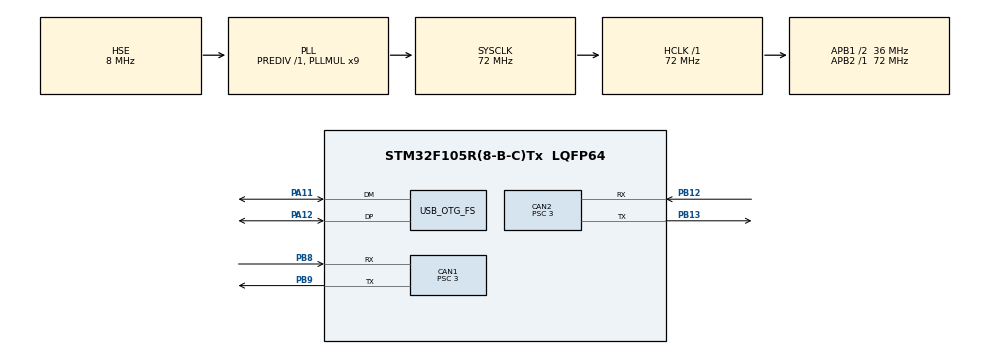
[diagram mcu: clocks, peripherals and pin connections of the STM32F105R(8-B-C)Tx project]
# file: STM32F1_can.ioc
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CAN1.BS1=CAN_BS1_6TQ
CAN1.BS2=CAN_BS2_5TQ
CAN1.CalculateTimeBit=1000
CAN1.CalculateTimeQuantum=83.33333333333334
CAN1.Prescaler=3
CAN2.BS1=CAN_BS1_5TQ
CAN2.BS2=CAN_BS2_6TQ
CAN2.CalculateTimeBit=1000
CAN2.CalculateTimeQuantum=83.33333333333334
CAN2.Prescaler=3
Mcu.Family=STM32F1
Mcu.Name=STM32F105R(8-B-C)Tx
Mcu.Package=LQFP64
NVIC.CAN1_RX0_IRQn=true\:0\:0\:false
NVIC.CAN1_TX_IRQn=true\:0\:0\:false
NVIC.CAN2_RX0_IRQn=true\:0\:0\:false
NVIC.CAN2_TX_IRQn=true\:0\:0\:false
NVIC.OTG_FS_IRQn=true\:0\:0\:false
NVIC.PriorityGroup=NVIC_PRIORITYGROUP_4
PA11.Mode=Device_Only
PA11.Signal=USB_OTG_FS_DM
PA12.Mode=Device_Only
PA12.Signal=USB_OTG_FS_DP
PB12.Mode=Slave
PB12.Signal=CAN2_RX
PB13.Mode=Slave
PB13.Signal=CAN2_TX
PB8.Mode=Master
PB8.Signal=CAN1_RX
PB9.Mode=Master
PB9.Signal=CAN1_TX
PD0-OSC_IN.Mode=HSE-External-Oscillator
PD0-OSC_IN.Signal=RCC_OSC_IN
PD1-OSC_OUT.Mode=HSE-External-Oscillator
PD1-OSC_OUT.Signal=RCC_OSC_OUT
ProjectManager.HeapSize=0x400
ProjectManager.StackSize=0x200
ProjectManager.TargetToolchain=MDK-ARM V5
RCC.AHBFreq_Value=72000000
RCC.APB1CLKDivider=RCC_HCLK_DIV2
RCC.APB1Freq_Value=36000000
RCC.APB1TimFreq_Value=72000000
RCC.APB2Freq_Value=72000000
RCC.APB2TimFreq_Value=72000000
RCC.HCLKFreq_Value=72000000
RCC.HSIState=RCC_HSI_ON
RCC.PLLMUL=RCC_PLL_MUL9
RCC.SYSCLKFreq_VALUE=72000000
RCC.SYSCLKSource=RCC_SYSCLKSOURCE_PLLCLK
RCC.USBFreq_Value=48000000
USB_DEVICE.USBD_HandleTypeDef=hUsbDeviceFS
USB_DEVICE.VirtualMode=Cdc
USB_DEVICE.VirtualModeFS=Cdc_FS
USB_OTG_FS.VirtualMode=Device_Only
VP_USB_DEVICE_VS_USB_DEVICE_CDC_FS.Mode=CDC_FS
board=STM32F1_can_

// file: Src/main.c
/**
  ******************************************************************************
  * File Name          : main.c
  * Description        : Main program body
  ******************************************************************************
  *
  * COPYRIGHT(c) 2016 STMicroelectronics
  *
  * Redistribution and use in source and binary forms, with or without modification,
  * are permitted provided that the following conditions are met:
  *   1. Redistributions of source code must retain the above copyright notice,
  *      this list of conditions and the following disclaimer.
  *   2. Redistributions in binary form must reproduce the above copyright notice,
  *      this list of conditions and the following disclaimer in the documentation
  *      and/or other materials provided with the distribution.
  *   3. Neither the name of STMicroelectronics nor the names of its contributors
  *      may be used to endorse or promote products derived from this software
  *      without specific prior written permission.
  *
  * THIS SOFTWARE IS PROVIDED BY THE COPYRIGHT HOLDERS AND CONTRIBUTORS "AS IS"
  * AND ANY EXPRESS OR IMPLIED WARRANTIES, INCLUDING, BUT NOT LIMITED TO, THE
  * IMPLIED WARRANTIES OF MERCHANTABILITY AND FITNESS FOR A PARTICULAR PURPOSE ARE
  * DISCLAIMED. IN NO EVENT SHALL THE COPYRIGHT HOLDER OR CONTRIBUTORS BE LIABLE
  * FOR ANY DIRECT, INDIRECT, INCIDENTAL, SPECIAL, EXEMPLARY, OR CONSEQUENTIAL
  * DAMAGES (INCLUDING, BUT NOT LIMITED TO, PROCUREMENT OF SUBSTITUTE GOODS OR
  * SERVICES; LOSS OF USE, DATA, OR PROFITS; OR BUSINESS INTERRUPTION) HOWEVER
  * CAUSED AND ON ANY THEORY OF LIABILITY, WHETHER IN CONTRACT, STRICT LIABILITY,
  * OR TORT (INCLUDING NEGLIGENCE OR OTHERWISE) ARISING IN ANY WAY OUT OF THE USE
  * OF THIS SOFTWARE, EVEN IF ADVISED OF THE POSSIBILITY OF SUCH DAMAGE.
  *
  ******************************************************************************
  */
#include "stm32f1xx_hal.h"
#include "usb_device.h"

CAN_HandleTypeDef hcan1;
CAN_HandleTypeDef hcan2;

/* USER CODE BEGIN PV */
/* Private variables ---------------------------------------------------------*/
static CanTxMsgTypeDef        Tx1Message;
static CanRxMsgTypeDef        Rx1Message;
static CanTxMsgTypeDef        Tx2Message;
static CanRxMsgTypeDef        Rx2Message;
static uint8_t bCAN1_TxReq = 0;
static uint8_t bCAN2_TxReq = 0;

#define MAX_SEND_TRY_COUNT 15000 // this is about 20ms TX timeout (measured by scope)
static uint32_t iCAN1_Timeout = 0;
static uint32_t iCAN2_Timeout = 0;

/* USER CODE END PV */

// if defined CAN2 acting as loopback
//#define CAN1_LOOPBACK

// if defined CAN2 acting as loopback
//#define CAN2_LOOPBACK

// if defined CAN parameters are stored in MCU Flash
#define USE_FLASH

#ifdef USE_FLASH
  #define FLASH_USER_OFFSET 0x800F800
  int iCAN1_Prescaler        __attribute__((at(FLASH_USER_OFFSET+4*0))) = 6;
  int iCAN2_Prescaler        __attribute__((at(FLASH_USER_OFFSET+4*1))) = 6;
  int iCAN1_FilterIdHigh     __attribute__((at(FLASH_USER_OFFSET+4*2))) = 0;
  int iCAN1_FilterIdLow      __attribute__((at(FLASH_USER_OFFSET+4*3))) = 0;
  int iCAN1_FilterMaskIdHigh __attribute__((at(FLASH_USER_OFFSET+4*4))) = 0;
  int iCAN1_FilterMaskIdLow  __attribute__((at(FLASH_USER_OFFSET+4*5))) = 0;
  int iCAN2_FilterIdHigh     __attribute__((at(FLASH_USER_OFFSET+4*6))) = 0;
  int iCAN2_FilterIdLow      __attribute__((at(FLASH_USER_OFFSET+4*7))) = 0;
  int iCAN2_FilterMaskIdHigh __attribute__((at(FLASH_USER_OFFSET+4*8))) = 0;
  int iCAN2_FilterMaskIdLow  __attribute__((at(FLASH_USER_OFFSET+4*9))) = 0;
  int iReplace_Count          __attribute__((at(FLASH_USER_OFFSET+4*10))) = 0;
#else
  int iCAN1_Prescaler         = 6;
  int iCAN2_Prescaler         = 6;
  int iCAN1_FilterIdHigh      = 0;
  int iCAN1_FilterIdLow       = 0;
  int iCAN1_FilterMaskIdHigh  = 0;
  int iCAN1_FilterMaskIdLow   = 0;
  int iCAN2_FilterIdHigh      = 0;
  int iCAN2_FilterIdLow       = 0;
  int iCAN2_FilterMaskIdHigh  = 0;
  int iCAN2_FilterMaskIdLow   = 0;
  int iReplace_Count = 0;
#endif

#define FLASH_REPLACEMENT_OFFSET (FLASH_USER_OFFSET + 4*11)
#define FLASH_REPLACEMENT_SIZE (12)
unsigned int *iReplace_IDMask;
unsigned int *iReplace_IDFilter;
unsigned int *iReplace_NewIDMask;
unsigned int *iReplace_NewIDValue;
unsigned int *iReplace_DataMaskHigh;
unsigned int *iReplace_DataMaskLow;
unsigned int *iReplace_DataFilterHigh;
unsigned int *iReplace_DataFilterLow;
unsigned int *iReplace_NewDataMaskHigh;
unsigned int *iReplace_NewDataMaskLow;
unsigned int *iReplace_NewDataValueHigh;
unsigned int *iReplace_NewDataValueLow;

void SystemClock_Config(void);
static void MX_GPIO_Init(void);
static void MX_CAN1_Init(void);
static void MX_CAN2_Init(void);
void Error_Handler(void);

/* USER CODE BEGIN PFP */
/* Private function prototypes -----------------------------------------------*/
void User_GPIO_Init(void);
void LedG(uint8_t On);
void LedG_Toggle(void);
void LedB(uint8_t On);
void LedB_Toggle(void);
void LedR(uint8_t On);
void LedR_Toggle(void);
void ProcessModification(CanTxMsgTypeDef* pTxMsg);
void RunTests(void);
void CAN_CancelTransmit(CAN_HandleTypeDef* hcan);

void RxQueuePut(uint8_t data);
uint8_t RxQueueGet(void);
uint8_t RxQueueNotEmpty(void);

void UART_ProcessData(uint8_t rx);
/* USER CODE END PFP */

int main(void)
{

  /* MCU Configuration----------------------------------------------------------*/

  /* Reset of all peripherals, Initializes the Flash interface and the Systick. */
  HAL_Init();

  /* Configure the system clock */
  SystemClock_Config();

  /* Initialize all configured peripherals */
  MX_GPIO_Init();
  MX_CAN1_Init();
  MX_CAN2_Init();
  MX_USB_DEVICE_Init();

  /* USER CODE BEGIN 2 */
  User_GPIO_Init();
  LedG(1);

  /*##-2- Start the Reception process and enable reception interrupt #########*/
  if (HAL_CAN_Receive_IT(&hcan1, CAN_FIFO0) != HAL_OK)
  {
    /* Reception Error */
    Error_Handler();
  }

  /*##-2- Start the Reception process and enable reception interrupt #########*/
  if (HAL_CAN_Receive_IT(&hcan2, CAN_FIFO0) != HAL_OK)
  {
    /* Reception Error */
    Error_Handler();
  }

  RunTests(); // this is function to run transmission tests

  // this is loopback cycle
  while (1)
  {
    if (bCAN2_TxReq)
    {
      //LedR(1);
      ProcessModification(hcan2.pTxMsg);
      //LedR(0);
      if (HAL_CAN_Transmit_IT(&hcan2) != HAL_OK)
      {
        /* Transmition Error */
        LedR_Toggle();

        // if we tried hard so many times -- restart CAN
        iCAN2_Timeout++;
        if (iCAN2_Timeout > MAX_SEND_TRY_COUNT)
        {
          iCAN2_Timeout = 0;
          //CAN_CancelTransmit(&hcan2);
          HAL_NVIC_SystemReset();
        }
      }
      else
      {
        bCAN2_TxReq = 0;
        iCAN2_Timeout = 0;
      }
    }

    if (bCAN1_TxReq)
    {
      //ProcessModification(hcan1.pTxMsg); // TODO: maybe add CAN instance selector in replacement data?

      if (HAL_CAN_Transmit_IT(&hcan1) != HAL_OK)
      {
        /* Transmition Error */
        LedR_Toggle();

        // if we tried hard so many times -- restart CAN
        iCAN1_Timeout++;
        if (iCAN1_Timeout > MAX_SEND_TRY_COUNT)
        {
          iCAN1_Timeout = 0;
          //CAN_CancelTransmit(&hcan1);
          HAL_NVIC_SystemReset();
        }
      }
      else
      {
        bCAN1_TxReq = 0;
        iCAN1_Timeout = 0;
      }
    }

    if (RxQueueNotEmpty()) UART_ProcessData(RxQueueGet());
  }

  /* USER CODE END 2 */

  /* Infinite loop */
  while (1)
  {

  }

}

/** System Clock Configuration
*/
void SystemClock_Config(void)
{

  RCC_OscInitTypeDef RCC_OscInitStruct;
  RCC_ClkInitTypeDef RCC_ClkInitStruct;
  RCC_PeriphCLKInitTypeDef PeriphClkInit;

  RCC_OscInitStruct.OscillatorType = RCC_OSCILLATORTYPE_HSE;
  RCC_OscInitStruct.HSEState = RCC_HSE_ON;
  RCC_OscInitStruct.HSEPredivValue = RCC_HSE_PREDIV_DIV1;
  RCC_OscInitStruct.Prediv1Source = RCC_PREDIV1_SOURCE_HSE;
  RCC_OscInitStruct.PLL.PLLState = RCC_PLL_ON;
  RCC_OscInitStruct.PLL.PLLSource = RCC_PLLSOURCE_HSE;
  RCC_OscInitStruct.PLL.PLLMUL = RCC_PLL_MUL9;
  RCC_OscInitStruct.PLL2.PLL2State = RCC_PLL_NONE;
  HAL_RCC_OscConfig(&RCC_OscInitStruct);

  RCC_ClkInitStruct.ClockType = RCC_CLOCKTYPE_HCLK|RCC_CLOCKTYPE_SYSCLK
                              |RCC_CLOCKTYPE_PCLK1|RCC_CLOCKTYPE_PCLK2;
  RCC_ClkInitStruct.SYSCLKSource = RCC_SYSCLKSOURCE_PLLCLK;
  RCC_ClkInitStruct.AHBCLKDivider = RCC_SYSCLK_DIV1;
  RCC_ClkInitStruct.APB1CLKDivider = RCC_HCLK_DIV2;
  RCC_ClkInitStruct.APB2CLKDivider = RCC_HCLK_DIV1;
  HAL_RCC_ClockConfig(&RCC_ClkInitStruct, FLASH_LATENCY_2);

  PeriphClkInit.PeriphClockSelection = RCC_PERIPHCLK_USB;
  PeriphClkInit.UsbClockSelection = RCC_USBPLLCLK_DIV3;
  HAL_RCCEx_PeriphCLKConfig(&PeriphClkInit);

  HAL_SYSTICK_Config(HAL_RCC_GetHCLKFreq()/1000);

  HAL_SYSTICK_CLKSourceConfig(SYSTICK_CLKSOURCE_HCLK);

  __HAL_RCC_PLLI2S_ENABLE();

  /* SysTick_IRQn interrupt configuration */
  HAL_NVIC_SetPriority(SysTick_IRQn, 0, 0);
}

/* CAN1 init function */
void MX_CAN1_Init(void)
{
  CAN_FilterConfTypeDef  sFilterConfig;

  hcan1.Instance = CAN1;
  hcan1.pTxMsg = &Tx1Message;
  hcan1.pRxMsg = &Rx1Message;

  hcan1.Init.Prescaler = iCAN1_Prescaler; //3 -- 1Msps
  #ifdef CAN1_LOOPBACK
    hcan1.Init.Mode = CAN_MODE_LOOPBACK;
  #else
    hcan1.Init.Mode = CAN_MODE_NORMAL;
  #endif
  hcan1.Init.SJW = CAN_SJW_1TQ;
  hcan1.Init.BS1 = CAN_BS1_6TQ;
  hcan1.Init.BS2 = CAN_BS2_5TQ;
  hcan1.Init.TTCM = DISABLE;
  hcan1.Init.ABOM = DISABLE;
  hcan1.Init.AWUM = DISABLE;
  hcan1.Init.NART = DISABLE;
  hcan1.Init.RFLM = DISABLE;
  hcan1.Init.TXFP = DISABLE;
  HAL_CAN_Init(&hcan1);

  /*##-2- Configure the CAN Filter ###########################################*/
  sFilterConfig.FilterNumber = 0;
  sFilterConfig.FilterMode = CAN_FILTERMODE_IDMASK;
  sFilterConfig.FilterScale = CAN_FILTERSCALE_32BIT;
  sFilterConfig.FilterIdHigh = 0;
  sFilterConfig.FilterIdLow = 0;
  sFilterConfig.FilterMaskIdHigh = 0;
  sFilterConfig.FilterMaskIdLow = 0;
  sFilterConfig.FilterFIFOAssignment = 0;
  sFilterConfig.FilterActivation = ENABLE;
  sFilterConfig.BankNumber = 14;

  if (HAL_CAN_ConfigFilter(&hcan1, &sFilterConfig) != HAL_OK)
  {
    // Filter configuration Error
    Error_Handler();
  }
}

/* CAN2 init function */
void MX_CAN2_Init(void)
{
  CAN_FilterConfTypeDef  sFilterConfig;

  hcan2.Instance = CAN2;
  hcan2.pTxMsg = &Tx2Message;
  hcan2.pRxMsg = &Rx2Message;

  hcan2.Init.Prescaler = iCAN2_Prescaler; //3 -- 1Msps
  #ifdef CAN2_LOOPBACK
    hcan2.Init.Mode = CAN_MODE_LOOPBACK;
  #else
    hcan2.Init.Mode = CAN_MODE_NORMAL;
  #endif
  hcan2.Init.SJW = CAN_SJW_1TQ;
  hcan2.Init.BS1 = CAN_BS1_6TQ;
  hcan2.Init.BS2 = CAN_BS2_5TQ;
  hcan2.Init.TTCM = DISABLE;
  hcan2.Init.ABOM = DISABLE;
  hcan2.Init.AWUM = DISABLE;
  hcan2.Init.NART = DISABLE;
  hcan2.Init.RFLM = DISABLE;
  hcan2.Init.TXFP = DISABLE;
  HAL_CAN_Init(&hcan2);

  /*##-2- Configure the CAN Filter ###########################################*/
  sFilterConfig.FilterNumber = 14;
  sFilterConfig.FilterMode = CAN_FILTERMODE_IDMASK;
  sFilterConfig.FilterScale = CAN_FILTERSCALE_32BIT;
  sFilterConfig.FilterIdHigh = 0;
  sFilterConfig.FilterIdLow = 0;
  sFilterConfig.FilterMaskIdHigh = 0;
  sFilterConfig.FilterMaskIdLow = 0;
  sFilterConfig.FilterFIFOAssignment = 0;
  sFilterConfig.FilterActivation = ENABLE;
  sFilterConfig.BankNumber = 14;

  if (HAL_CAN_ConfigFilter(&hcan1, &sFilterConfig) != HAL_OK)
  {
    // Filter configuration Error
    Error_Handler();
  }
}

/** Configure pins as
        * Analog
        * Input
        * Output
        * EVENT_OUT
        * EXTI
*/
void MX_GPIO_Init(void)
{
  GPIO_InitTypeDef GPIO_InitStruct;

  /* GPIO Ports Clock Enable */
  __HAL_RCC_GPIOD_CLK_ENABLE();
  __HAL_RCC_GPIOB_CLK_ENABLE();
  __HAL_RCC_GPIOA_CLK_ENABLE();
}

#define LEDG_PIN GPIO_PIN_7
#define LEDG_GPIO GPIOA

#define LEDB_PIN GPIO_PIN_6
#define LEDB_GPIO GPIOA

#define LEDR_PIN GPIO_PIN_5
#define LEDR_GPIO GPIOA

/* USER CODE BEGIN 4 */

void User_GPIO_Init(void)
{
  GPIO_InitTypeDef GPIO_InitStruct;

  GPIO_InitStruct.Pin = LEDG_PIN;
  GPIO_InitStruct.Mode = GPIO_MODE_OUTPUT_PP;
  GPIO_InitStruct.Pull = GPIO_NOPULL;
  GPIO_InitStruct.Speed = GPIO_SPEED_HIGH;
  HAL_GPIO_Init(LEDG_GPIO, &GPIO_InitStruct);

  GPIO_InitStruct.Pin = LEDB_PIN;
  HAL_GPIO_Init(LEDB_GPIO, &GPIO_InitStruct);

  GPIO_InitStruct.Pin = LEDR_PIN;
  HAL_GPIO_Init(LEDR_GPIO, &GPIO_InitStruct);
}

void LedG(uint8_t On)
{
  HAL_GPIO_WritePin(LEDG_GPIO, LEDG_PIN, On);
}

void LedG_Toggle()
{
  HAL_GPIO_TogglePin(LEDG_GPIO, LEDG_PIN);
}

void LedB(uint8_t On)
{
  HAL_GPIO_WritePin(LEDB_GPIO, LEDB_PIN, On);
}

void LedB_Toggle()
{
  HAL_GPIO_TogglePin(LEDB_GPIO, LEDB_PIN);
}

void LedR(uint8_t On)
{
  HAL_GPIO_WritePin(LEDR_GPIO, LEDR_PIN, On);
}

void LedR_Toggle()
{
  HAL_GPIO_TogglePin(LEDR_GPIO, LEDR_PIN);
}

void Error_Handler(void)
{
  LedR(1);
  while (1) ;
}

void CAN_CancelTransmit(CAN_HandleTypeDef* hcan)
{
  __HAL_CAN_CANCEL_TRANSMIT(hcan, CAN_TXMAILBOX_0);
  __HAL_CAN_CANCEL_TRANSMIT(hcan, CAN_TXMAILBOX_1);
  __HAL_CAN_CANCEL_TRANSMIT(hcan, CAN_TXMAILBOX_2);
  __HAL_CAN_DISABLE_IT(hcan, CAN_IT_TME);
}

/**
  * @brief  Transmission  complete callback in non blocking mode
  * @param  CanHandle: pointer to a CAN_HandleTypeDef structure that contains
  *         the configuration information for the specified CAN.
  * @retval None
  */
void HAL_CAN_RxCpltCallback(CAN_HandleTypeDef *CanHandle)
{
  uint8_t bAccept = 0;

  if (CanHandle == &hcan1)
  {
    // software packet filter
    if (hcan1.pRxMsg->IDE == CAN_ID_STD)
    {
      // standard ID
      if ((hcan1.pRxMsg->StdId & iCAN1_FilterMaskIdLow) == iCAN1_FilterIdLow) bAccept = 1;
    }
    else
    {
      // extended ID
      if ((hcan1.pRxMsg->ExtId & iCAN1_FilterMaskIdLow) == iCAN1_FilterIdLow) bAccept = 1;
    }

    if (bAccept)
    {
      // CAN1 reception
      LedG_Toggle();

      // copy all stuff from RX CAN1 to TX CAN2
      hcan2.pTxMsg->StdId = hcan1.pRxMsg->StdId;
      hcan2.pTxMsg->RTR = hcan1.pRxMsg->RTR;
      hcan2.pTxMsg->IDE = hcan1.pRxMsg->IDE;
      hcan2.pTxMsg->ExtId = hcan1.pRxMsg->ExtId;
      hcan2.pTxMsg->DLC = hcan1.pRxMsg->DLC;
      hcan2.pTxMsg->Data[0] = hcan1.pRxMsg->Data[0];
      hcan2.pTxMsg->Data[1] = hcan1.pRxMsg->Data[1];
      hcan2.pTxMsg->Data[2] = hcan1.pRxMsg->Data[2];
      hcan2.pTxMsg->Data[3] = hcan1.pRxMsg->Data[3];
      hcan2.pTxMsg->Data[4] = hcan1.pRxMsg->Data[4];
      hcan2.pTxMsg->Data[5] = hcan1.pRxMsg->Data[5];
      hcan2.pTxMsg->Data[6] = hcan1.pRxMsg->Data[6];
      hcan2.pTxMsg->Data[7] = hcan1.pRxMsg->Data[7];

      bCAN2_TxReq = 1;  // requesting transmission for CAN2
    }
  }
  else
  {
    // software packet filter
    if (hcan2.pRxMsg->IDE == CAN_ID_STD)
    {
      // standard ID
      if ((hcan2.pRxMsg->StdId & iCAN2_FilterMaskIdLow) == iCAN2_FilterIdLow) bAccept = 1;
    }
    else
    {
      // extended ID
      if ((hcan2.pRxMsg->ExtId & iCAN2_FilterMaskIdLow) == iCAN2_FilterIdLow) bAccept = 1;
    }

    if (bAccept)
    {
      // CAN2 reception
      LedB_Toggle();

      hcan1.pTxMsg->StdId = hcan2.pRxMsg->StdId;
      hcan1.pTxMsg->RTR = hcan2.pRxMsg->RTR;
      hcan1.pTxMsg->IDE = hcan2.pRxMsg->IDE;
      hcan1.pTxMsg->ExtId = hcan2.pRxMsg->ExtId;
      hcan1.pTxMsg->DLC = hcan2.pRxMsg->DLC;
      hcan1.pTxMsg->Data[0] = hcan2.pRxMsg->Data[0];
      hcan1.pTxMsg->Data[1] = hcan2.pRxMsg->Data[1];
      hcan1.pTxMsg->Data[2] = hcan2.pRxMsg->Data[2];
      hcan1.pTxMsg->Data[3] = hcan2.pRxMsg->Data[3];
      hcan1.pTxMsg->Data[4] = hcan2.pRxMsg->Data[4];
      hcan1.pTxMsg->Data[5] = hcan2.pRxMsg->Data[5];
      hcan1.pTxMsg->Data[6] = hcan2.pRxMsg->Data[6];
      hcan1.pTxMsg->Data[7] = hcan2.pRxMsg->Data[7];

      bCAN1_TxReq = 1; // requesting transmission for CAN1
    }
  }

  /* Resume receive */
  __HAL_UNLOCK(CanHandle); // in case we arrived there from transmission
  if (HAL_CAN_Receive_IT(CanHandle, CAN_FIFO0) != HAL_OK)
  {
    /* Reception Error */
    Error_Handler();
  }
}

//----------------------------------------------------------------------------------------
// Serial UART over USB configuration code section (communication protocol FSM)
//----------------------------------------------------------------------------------------
typedef enum
{
  UART_STATE_IDLE, // waiting for command
  UART_STATE_SYNC_1, // receiving sync byte 1
  UART_STATE_SYNC_2, // receiving sync byte 2
  UART_STATE_ADDR_0, // receiving addr byte 0
  UART_STATE_ADDR_1, // receiving addr byte 1
  UART_STATE_ADDR_2, // receiving addr byte 1
  UART_STATE_ADDR_3, // receiving addr byte 1
  UART_STATE_LEN_0, // receiving length byte 2
  UART_STATE_LEN_1, // receiving sync byte 2
  UART_STATE_CMD, // command byte
  UART_STATE_WRITE_0, // receive write byte 0
  UART_STATE_WRITE_1, // receive write byte 0
  UART_STATE_WRITE_2, // receive write byte 0
  UART_STATE_WRITE_3, // receive write byte 0
} UART_RX_CMD_States;

UART_RX_CMD_States bUartRxState = UART_STATE_IDLE;
uint32_t iMemRWAddr = 0;
uint16_t iMemRWByteCount = 0;
uint8_t * bUARTMemTxBuff; // this is actually memory buffer for
uint8_t bUARTMemTxResponse[3] = {'1', '2', 'Y'};

// Variable used for Erase procedure
static FLASH_EraseInitTypeDef EraseInitStruct;
uint32_t PAGEError = 0;
uint32_t iFlashData = 0;

#include "usbd_cdc_if.h"

void UART_ProcessData(uint8_t rx)
{
  if (bUartRxState == UART_STATE_IDLE)
  {
    if (rx == '1')
      bUartRxState = UART_STATE_SYNC_1;
  }
  else
  if (bUartRxState == UART_STATE_SYNC_1)
  {
    if (rx == '2')
      bUartRxState = UART_STATE_ADDR_0;
    else
      bUartRxState = UART_STATE_IDLE;
  }
  else
  if (bUartRxState == UART_STATE_ADDR_0)
  {
    iMemRWAddr = rx << 24;
    bUartRxState = UART_STATE_ADDR_1;
  }
  else
  if (bUartRxState == UART_STATE_ADDR_1)
  {
    iMemRWAddr |= rx << 16;
    bUartRxState = UART_STATE_ADDR_2;
  }
  else
  if (bUartRxState == UART_STATE_ADDR_2)
  {
    iMemRWAddr |= rx << 8;
    bUartRxState = UART_STATE_ADDR_3;
  }
  else
  if (bUartRxState == UART_STATE_ADDR_3)
  {
    iMemRWAddr |= rx << 0;
    bUartRxState = UART_STATE_LEN_0;
  }
  else
  if (bUartRxState == UART_STATE_LEN_0)
  {
    iMemRWByteCount = rx << 16;
    bUartRxState = UART_STATE_LEN_1;
  }
  else
  if (bUartRxState == UART_STATE_LEN_1)
  {
    iMemRWByteCount |= rx << 0;
    bUartRxState = UART_STATE_CMD;
  }
  else
  if (bUartRxState == UART_STATE_CMD)
  {
    if (rx == 'R')
    {
      bUartRxState = UART_STATE_IDLE;
      bUARTMemTxBuff = ((uint8_t*)(iMemRWAddr)); // construct pointer to memory from integer address
      CDC_Transmit_FS(bUARTMemTxBuff, iMemRWByteCount);
    }
    else
    if (rx == 'E')
    {
      bUartRxState = UART_STATE_IDLE;
      HAL_NVIC_SystemReset();
    }
    else
    if (rx == 'F')
    {
      // Unlock the Flash to enable the flash control register access
      HAL_FLASH_Unlock();

      // Fill EraseInit structure
      EraseInitStruct.TypeErase   = FLASH_TYPEERASE_PAGES;
      EraseInitStruct.PageAddress = iMemRWAddr;
      EraseInitStruct.NbPages     = 1; // we arasing only one page (teh last one)

      // Erase the user Flash area
      if (HAL_FLASHEx_Erase(&EraseInitStruct, &PAGEError) != HAL_OK)
      {
        LedR(1);
        bUARTMemTxResponse[2] = 'N';
      }
      else
        bUARTMemTxResponse[2] = 'Y';

      // transmit back response
      CDC_Transmit_FS(bUARTMemTxResponse, 3);

      bUartRxState = UART_STATE_IDLE;
    }
    else
    if (rx == 'W')
    {
      bUartRxState = UART_STATE_WRITE_0;

      // Unlock the Flash to enable the flash control register access
      HAL_FLASH_Unlock();
    }
  }
  else
  if (bUartRxState == UART_STATE_WRITE_0)
  {
    iFlashData = (rx)&0xFF;
    bUartRxState = UART_STATE_WRITE_1;
  }
  else
  if (bUartRxState == UART_STATE_WRITE_1)
  {
    iFlashData |= ((rx)&0xFF) << 8;
    bUartRxState = UART_STATE_WRITE_2;
  }
  else
  if (bUartRxState == UART_STATE_WRITE_2)
  {
    iFlashData |= ((rx)&0xFF) << 16;
    bUartRxState = UART_STATE_WRITE_3;
  }
  else
  if (bUartRxState == UART_STATE_WRITE_3)
  {
    iFlashData |= ((rx)&0xFF) << 24;
    bUartRxState = UART_STATE_WRITE_3;
    // writing data
    if (HAL_FLASH_Program(FLASH_TYPEPROGRAM_WORD, iMemRWAddr, iFlashData) != HAL_OK)
    {
      // here is error situation
      LedR(1);
      bUARTMemTxResponse[2] = 'N';

      // lock flash control
      HAL_FLASH_Lock();

      // transmit back response
      CDC_Transmit_FS(bUARTMemTxResponse, 3);

      bUartRxState = UART_STATE_IDLE;
    }

    // incrementing address
    iMemRWByteCount = iMemRWByteCount - 4;
    iMemRWAddr = iMemRWAddr + 4;

    if (iMemRWByteCount <= 0)
    {
      // programming finished
      bUARTMemTxResponse[2] = 'Y';

      // lock flash control
      HAL_FLASH_Lock();

      // transmit back response
      CDC_Transmit_FS(bUARTMemTxResponse, 3);

      bUartRxState = UART_STATE_IDLE;
    }
    else
      bUartRxState = UART_STATE_WRITE_0;

  }
}

//----------------------------------------------------------------------------------------
// Simple Queue implementation for serial port

#define RX_QUEUE_LENGTH 64
static uint8_t bRxQueue[RX_QUEUE_LENGTH];
static int iRxQueueCount = 0;
static int iRxQueueIn = 0;
static int iRxQueueOut = 0;

void RxQueuePut(uint8_t data)
{
  if (iRxQueueCount < RX_QUEUE_LENGTH)
  {
    bRxQueue[iRxQueueIn] = data;
    iRxQueueIn = iRxQueueIn + 1;
    if (iRxQueueIn >= RX_QUEUE_LENGTH) iRxQueueIn = 0;
    iRxQueueCount++;
  }
}

uint8_t RxQueueGet()
{
  uint8_t data = 0;

  if (iRxQueueCount > 0)
  {
    data = bRxQueue[iRxQueueOut];
    iRxQueueOut = iRxQueueOut + 1;
    if (iRxQueueOut >= RX_QUEUE_LENGTH) iRxQueueOut = 0;
    iRxQueueCount--;
  }

  return data;
}

uint8_t RxQueueNotEmpty() { return iRxQueueCount > 0; }

//----------------------------------------------------------------------------------------
// CAN packets data modification procedure
//----------------------------------------------------------------------------------------

void ProcessModification(CanTxMsgTypeDef* pTxMsg)
{
  unsigned int *iID;
  int i;
  unsigned int *iBuffer;
  unsigned int *iDataLow;
  unsigned int *iDataHigh;

  if (pTxMsg->IDE == CAN_ID_STD)
    iID = &pTxMsg->StdId;
  else
    iID = &pTxMsg->ExtId;

  iDataLow = (unsigned int *)(&pTxMsg->Data);
  iDataHigh = (unsigned int *)(&pTxMsg->Data[4]);

  iBuffer = (unsigned int *)(FLASH_REPLACEMENT_OFFSET - FLASH_REPLACEMENT_SIZE*4); //-FLASH_REPLACEMENT_SIZE needed because we shift pointer at the beginning of the for loop
  iReplace_IDMask = iBuffer; iBuffer++;
  iReplace_IDFilter = iBuffer; iBuffer++;
  iReplace_NewIDMask = iBuffer; iBuffer++;
  iReplace_NewIDValue = iBuffer; iBuffer++;
  iReplace_DataMaskHigh = iBuffer; iBuffer++;
  iReplace_DataMaskLow = iBuffer; iBuffer++;
  iReplace_DataFilterHigh = iBuffer; iBuffer++;
  iReplace_DataFilterLow = iBuffer; iBuffer++;
  iReplace_NewDataMaskHigh = iBuffer; iBuffer++;
  iReplace_NewDataMaskLow = iBuffer; iBuffer++;
  iReplace_NewDataValueHigh = iBuffer; iBuffer++;
  iReplace_NewDataValueLow = iBuffer; iBuffer++;

  for (i = 0; i < iReplace_Count; i++)
  {
    // increment pointers to move to next replacement record
    iReplace_IDMask += FLASH_REPLACEMENT_SIZE;
    iReplace_IDFilter += FLASH_REPLACEMENT_SIZE;
    iReplace_NewIDMask += FLASH_REPLACEMENT_SIZE;
    iReplace_NewIDValue += FLASH_REPLACEMENT_SIZE;
    iReplace_DataMaskHigh += FLASH_REPLACEMENT_SIZE;
    iReplace_DataMaskLow += FLASH_REPLACEMENT_SIZE;
    iReplace_DataFilterHigh += FLASH_REPLACEMENT_SIZE;
    iReplace_DataFilterLow += FLASH_REPLACEMENT_SIZE;
    iReplace_NewDataMaskHigh += FLASH_REPLACEMENT_SIZE;
    iReplace_NewDataMaskLow += FLASH_REPLACEMENT_SIZE;
    iReplace_NewDataValueHigh += FLASH_REPLACEMENT_SIZE;
    iReplace_NewDataValueLow += FLASH_REPLACEMENT_SIZE;

    // if bit in "ID Mask" =1 AND bit in recieved ID = bit in "ID Filter", then packed ID is accepted for modification
    // AND
    // if bit in "Data Mask" =1 AND bit in recieved ID = bit in "Data Filter", then packed data is accepted for modification

    if ((*iID & *iReplace_IDMask) != (*iReplace_IDFilter & *iReplace_IDMask)) continue;
    if ((*iDataLow & *iReplace_DataMaskLow) != (*iReplace_DataFilterLow & *iReplace_DataMaskLow)) continue;
    if ((*iDataHigh & *iReplace_DataMaskHigh) != (*iReplace_DataFilterHigh & *iReplace_DataMaskHigh)) continue;

    // here is data packed accepted by filter

    // if bit =1 in "New ID Mask" then the value of this bit is being replaced by bit from "New ID Value"
    *iID = (*iID & ~(*iReplace_NewIDMask)) | *iReplace_NewIDValue;

    // if bit =1 in "New Data Mask" then the value of this bit is being replaced by bit from "New Data Value"
    *iDataLow = (*iDataLow & ~(*iReplace_NewDataMaskLow)) | (*iReplace_NewDataValueLow & *iReplace_NewDataMaskLow);
    *iDataHigh = (*iDataHigh & ~(*iReplace_NewDataMaskHigh)) | (*iReplace_NewDataValueHigh & *iReplace_NewDataMaskHigh);
  }

}

//----------------------------------------------------------------------------------------
// Functional tests for transmission
//----------------------------------------------------------------------------------------
// type of CAN ID for tests
//#define TEST_STD // if not defined, then Extended ID used

// if defined CAN1 constantly transmits the data
//#define TEST_CAN1_TRANSMIT

// if defined CAN2 constantly transmits the data
//#define TEST_CAN2_TRANSMIT

// if defined then we waiting for received data and then checks the contents (used in TEST_CANX_TRANSMIT)
//#define TEST_LOOPBACK_CHECK

// incremented data and ID then masked to constrain the range
//#define TEST_TRANSMIT_MASK 0xF
#define TEST_TRANSMIT_MASK 0xFFFFFFFF

// if defined CAN1 transmits one packet every 1s
//#define TEST_CAN1_INJECTION

// if defined CAN2 transmits one packet every 1s
//#define TEST_CAN2_INJECTION

// if defined then no transmission
//#define TEST_LISTEN_ONLY

void RunTests()
{
  uint32_t tickstart = 0;
  CanTxMsgTypeDef *pTxMsg;
  CanRxMsgTypeDef *pRxMsg;
  CAN_HandleTypeDef *hcan;

  #ifdef TEST_LISTEN_ONLY
    while (1) if (RxQueueNotEmpty()) UART_ProcessData(RxQueueGet());
  #endif

  #if defined(TEST_CAN1_INJECTION) || defined(TEST_CAN2_INJECTION)
    // selecting buffer and CAN instance
    #if defined(TEST_CAN1_INJECTION)
      pTxMsg = hcan1.pTxMsg;
      hcan = &hcan1;
    #else
      pTxMsg = hcan2.pTxMsg;
      hcan = &hcan2;
    #endif

    pTxMsg->StdId = 0x7EA;
    pTxMsg->ExtId = 0x7EA;
    pTxMsg->IDE = CAN_ID_STD;
    pTxMsg->DLC = 8;
    pTxMsg->Data[7] = 0x44;
    pTxMsg->Data[6] = 0x54;
    pTxMsg->Data[5] = 0x4A;
    pTxMsg->Data[4] = 0x01;
    pTxMsg->Data[3] = 0x02;
    pTxMsg->Data[2] = 0x49;
    pTxMsg->Data[1] = 0x14;
    pTxMsg->Data[0] = 0x10;

    #ifdef TEST_STD
      pTxMsg->IDE = CAN_ID_STD;
    #else
      pTxMsg->IDE = CAN_ID_EXT;
    #endif

    while (1)
    {
      if (HAL_CAN_Transmit_IT(hcan) != HAL_OK)
      {
        LedR_Toggle();
      }

      // waiting one second
      tickstart = HAL_GetTick();
      while((HAL_GetTick() - tickstart) < 1000)
      {
        if (RxQueueNotEmpty()) UART_ProcessData(RxQueueGet());
      }
    }
  #endif

  #if defined(TEST_CAN1_TRANSMIT) || defined(TEST_CAN2_TRANSMIT)
    // selecting buffer and CAN instance
    #if defined(TEST_CAN1_TRANSMIT)
      pTxMsg = hcan1.pTxMsg;
      pRxMsg = hcan1.pRxMsg;
      hcan = &hcan1;
    #else
      pTxMsg = hcan2.pTxMsg;
      pRxMsg = hcan2.pRxMsg;
      hcan = &hcan2;
    #endif

    pTxMsg->StdId = 0;
    pTxMsg->ExtId = 1;
    pTxMsg->IDE = CAN_ID_STD;
    pTxMsg->DLC = 8;
    pTxMsg->Data[0] = 0;
    pTxMsg->Data[1] = 1;
    pTxMsg->Data[2] = 2;
    pTxMsg->Data[3] = 3;
    pTxMsg->Data[4] = 4;
    pTxMsg->Data[5] = 5;
    pTxMsg->Data[6] = 6;
    pTxMsg->Data[7] = 7;

    #ifdef TEST_STD
      pTxMsg->IDE = CAN_ID_STD;
    #else
      pTxMsg->IDE = CAN_ID_EXT;
    #endif

    while (1)
    {
      #if defined(TEST_CAN1_TRANSMIT)
        bCAN2_TxReq = 0;
      #else
        bCAN1_TxReq = 0;
      #endif

      // sending
      //if (HAL_CAN_Transmit_IT(hcan) != HAL_OK)
      if (HAL_CAN_Transmit(hcan, 10) != HAL_OK)
      {
        LedR_Toggle();
      }

      #ifdef TEST_LOOPBACK_CHECK
        // waiting for reception
        #if defined(TEST_CAN1_TRANSMIT)
          while (bCAN2_TxReq == 0)
        #else
          while (bCAN1_TxReq == 0)
        #endif
        {
          if (RxQueueNotEmpty()) UART_ProcessData(RxQueueGet());
        };

        #ifdef TEST_STD
          if (pTxMsg->StdId != pRxMsg->StdId) LedR(1);
        #else
          if (pTxMsg->ExtId != pRxMsg->ExtId) LedR(1);
        #endif

        if (pTxMsg->Data[0] != pRxMsg->Data[0]) LedR(1);
        if (pTxMsg->Data[1] != pRxMsg->Data[1]) LedR(1);
        if (pTxMsg->Data[2] != pRxMsg->Data[2]) LedR(1);
        if (pTxMsg->Data[3] != pRxMsg->Data[3]) LedR(1);
        if (pTxMsg->Data[4] != pRxMsg->Data[4]) LedR(1);
        if (pTxMsg->Data[5] != pRxMsg->Data[5]) LedR(1);
        if (pTxMsg->Data[6] != pRxMsg->Data[6]) LedR(1);
        if (pTxMsg->Data[7] != pRxMsg->Data[7]) LedR(1);
      #endif

      pTxMsg->StdId++;  pTxMsg->StdId &= ((1 << 11)-1);
      pTxMsg->ExtId++;  pTxMsg->ExtId &= ((1 << 24)-1);
      pTxMsg->Data[0]++;
      pTxMsg->Data[1]++;
      pTxMsg->Data[2]++;
      pTxMsg->Data[3]++;
      pTxMsg->Data[4]++;
      pTxMsg->Data[5]++;
      pTxMsg->Data[6]++;
      pTxMsg->Data[7]++;

      pTxMsg->StdId &= TEST_TRANSMIT_MASK;
      pTxMsg->ExtId &= TEST_TRANSMIT_MASK;
//if (pTxMsg->StdId & 0x8) pTxMsg->StdId |= 0x100; if (pTxMsg->ExtId & 0x8) pTxMsg->ExtId |= 0x100;
      pTxMsg->Data[0] &= TEST_TRANSMIT_MASK;
      pTxMsg->Data[1] &= TEST_TRANSMIT_MASK;
      pTxMsg->Data[2] &= TEST_TRANSMIT_MASK;
      pTxMsg->Data[3] &= TEST_TRANSMIT_MASK;
      pTxMsg->Data[4] &= TEST_TRANSMIT_MASK;
      pTxMsg->Data[5] &= TEST_TRANSMIT_MASK;
      pTxMsg->Data[6] &= TEST_TRANSMIT_MASK;
      pTxMsg->Data[7] &= TEST_TRANSMIT_MASK;

      if (RxQueueNotEmpty()) UART_ProcessData(RxQueueGet());
    }
  #endif
}

/* USER CODE END 4 */

/************************ (C) COPYRIGHT STMicroelectronics *****END OF FILE****/
